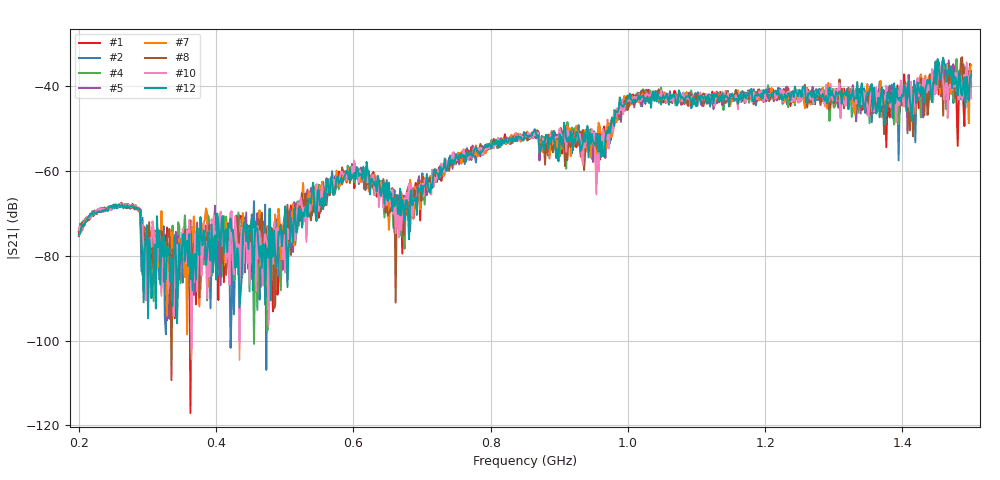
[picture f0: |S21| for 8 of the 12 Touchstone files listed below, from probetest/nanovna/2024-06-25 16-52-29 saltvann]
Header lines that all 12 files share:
! NanoVNA-App
! Start: 200MHz Stop: 1.5GHz Points: 801
! S-Parameter data: F S11 S21 S12 S22
# Hz S RI R 50
!  Frequency  S11_Real  S11_Imag  S21_Real  S21_Imag  S12_Real  S12_Imag  S22_Real  S22_Imag
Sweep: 200 MHz to 1.5 GHz
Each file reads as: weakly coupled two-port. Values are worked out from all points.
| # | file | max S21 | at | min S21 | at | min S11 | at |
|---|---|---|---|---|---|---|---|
| 1 | 0.s2p | -34.71 dB | 1.498 GHz | -117.1 dB | 362.5 MHz | -12.6 dB | 1.154 GHz |
| 2 | 1.s2p | -34.22 dB | 1.458 GHz | -106.9 dB | 473 MHz | -12.6 dB | 1.152 GHz |
| 3 | 5.s2p | -31.66 dB | 1.464 GHz | -108.3 dB | 333.2 MHz | -12.6 dB | 1.155 GHz |
| 4 | 7.s2p | -33.57 dB | 1.479 GHz | -100.8 dB | 455.1 MHz | -12.6 dB | 1.155 GHz |
| 5 | 8.s2p | -33.87 dB | 1.468 GHz | -95.2 dB | 328.4 MHz | -12.6 dB | 1.155 GHz |
| 6 | 10.s2p | -32.45 dB | 1.494 GHz | -106.4 dB | 297.5 MHz | -12.6 dB | 1.157 GHz |
| 7 | 11.s2p | -34.69 dB | 1.458 GHz | -98.6 dB | 357.6 MHz | -12.6 dB | 1.157 GHz |
| 8 | 12.s2p | -33.14 dB | 1.487 GHz | -109.3 dB | 334.9 MHz | -12.6 dB | 1.151 GHz |
| 9 | 15.s2p | -34.06 dB | 1.489 GHz | -95.6 dB | 344.6 MHz | -12.6 dB | 1.152 GHz |
| 10 | 16.s2p | -34.32 dB | 1.494 GHz | -104.6 dB | 434 MHz | -12.6 dB | 1.151 GHz |
| 11 | 17.s2p | -34.49 dB | 1.461 GHz | -91.1 dB | 447 MHz | -12.6 dB | 1.155 GHz |
| 12 | 18.s2p | -33.25 dB | 1.459 GHz | -95.9 dB | 343 MHz | -12.6 dB | 1.151 GHz |
